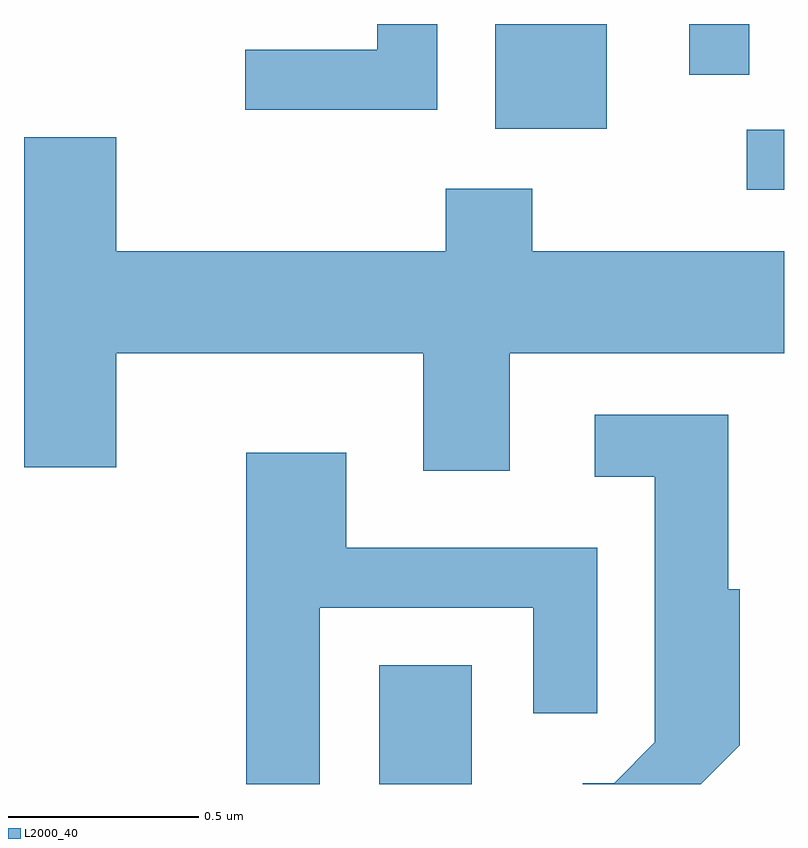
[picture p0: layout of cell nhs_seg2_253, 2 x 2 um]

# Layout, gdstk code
import gdstk
lib = gdstk.Library(unit=1e-6, precision=1e-09)
def R(c, l, rs):  # rectangles x0, y0, x1, y1
    for r in rs: c.add(gdstk.rectangle(r[:2], r[2:], *l))
def P(c, l, *ps):  # polygons
    for p in ps: c.add(gdstk.Polygon(p, *l))
L2000_40 = (2000, 40)

nhs_seg2_253 = lib.new_cell('nhs_seg2_253')
R(nhs_seg2_253, L2000_40, [(187.546,1093.802,187.789,1094.114), (188.513,1095.366,188.611,1095.524), (187.851,1095.526,188.144,1095.802), (188.361,1095.668,188.519,1095.802)])
P(nhs_seg2_253, L2000_40, [(187.699,1095.802),(187.541,1095.802),(187.541,1095.734),(187.193,1095.734),(187.193,1095.576),(187.699,1095.576)],
  [(187.889,1094.936),(188.611,1094.936),(188.611,1095.204),(187.949,1095.204),(187.949,1095.369),(187.721,1095.369),(187.721,1095.204),(186.854,1095.204),(186.854,1095.504),(186.611,1095.504),(186.611,1094.636),(186.854,1094.636),(186.854,1094.936),(187.661,1094.936),(187.661,1094.626),(187.889,1094.626)],
  [(188.494,1093.904),(188.494,1094.314),(188.464,1094.314),(188.464,1094.774),(188.113,1094.774),(188.113,1094.611),(188.271,1094.611),(188.271,1093.912),(188.164,1093.804),(188.081,1093.804),(188.081,1093.802),(188.392,1093.802)],
  [(187.389,1094.266),(187.951,1094.266),(187.951,1093.988),(188.119,1093.988),(188.119,1094.424),(187.459,1094.424),(187.459,1094.674),(187.196,1094.674),(187.196,1093.802),(187.389,1093.802)])

lib.write_gds('nhs_seg2_253.gds')
